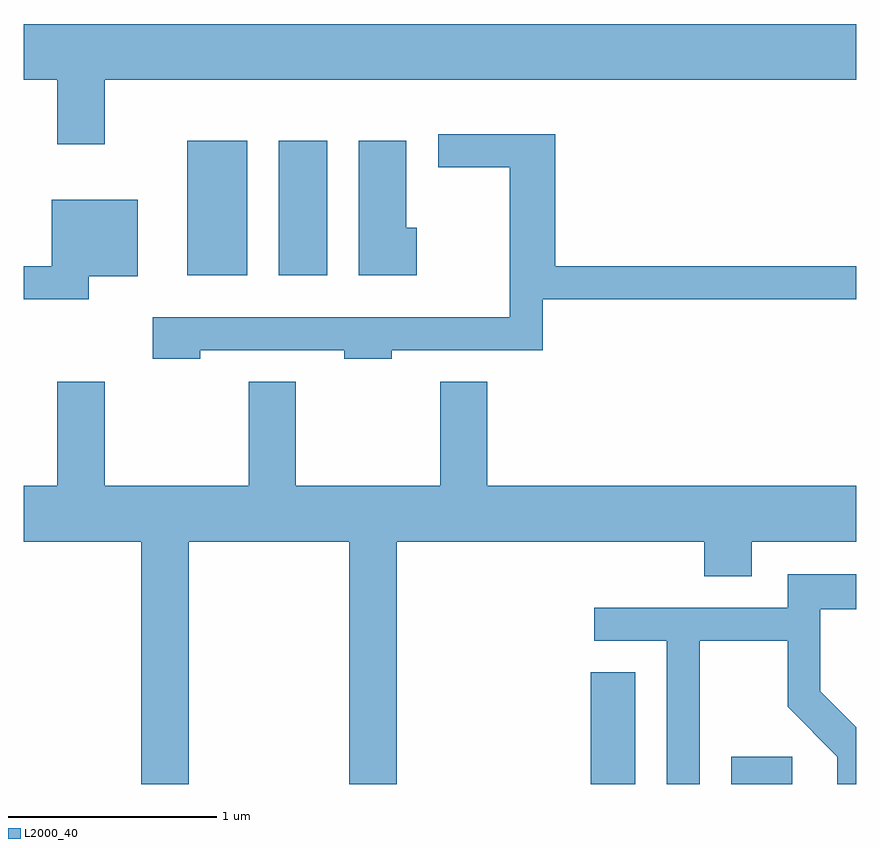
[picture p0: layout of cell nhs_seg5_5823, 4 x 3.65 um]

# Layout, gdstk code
import gdstk
lib = gdstk.Library(unit=1e-6, precision=1e-09)
def R(c, l, rs):  # rectangles x0, y0, x1, y1
    for r in rs: c.add(gdstk.rectangle(r[:2], r[2:], *l))
def P(c, l, *ps):  # polygons
    for p in ps: c.add(gdstk.Polygon(p, *l))
L2000_40 = (2000, 40)

nhs_seg5_5823 = lib.new_cell('nhs_seg5_5823')
R(nhs_seg5_5823, L2000_40, [(360.336,1460.072,360.549,1460.609), (361.011,1460.072,361.304,1460.204), (358.396,1462.516,358.684,1463.164), (358.836,1462.516,359.069,1463.164)])
P(nhs_seg5_5823, L2000_40, [(357.999,1463.456),(361.611,1463.456),(361.611,1463.724),(357.611,1463.724),(357.611,1463.456),(357.771,1463.456),(357.771,1463.146),(357.999,1463.146)],
  [(358.459,1462.156),(359.151,1462.156),(359.151,1462.116),(359.379,1462.116),(359.379,1462.156),(360.104,1462.156),(360.104,1462.401),(361.611,1462.401),(361.611,1462.559),(360.164,1462.559),(360.164,1463.194),(359.603,1463.194),(359.603,1463.036),(359.946,1463.036),(359.946,1462.314),(358.231,1462.314),(358.231,1462.116),(358.459,1462.116)],
  [(359.499,1462.744),(359.449,1462.744),(359.449,1463.164),(359.221,1463.164),(359.221,1462.516),(359.499,1462.516)],
  [(357.924,1462.511),(358.159,1462.511),(358.159,1462.879),(357.746,1462.879),(357.746,1462.559),(357.611,1462.559),(357.611,1462.401),(357.924,1462.401)],
  [(358.176,1460.072),(358.404,1460.072),(358.404,1461.236),(359.176,1461.236),(359.176,1460.072),(359.404,1460.072),(359.404,1461.236),(360.881,1461.236),(360.881,1461.071),(361.109,1461.071),(361.109,1461.236),(361.611,1461.236),(361.611,1461.504),(359.839,1461.504),(359.839,1462.004),(359.611,1462.004),(359.611,1461.504),(358.919,1461.504),(358.919,1462.004),(358.691,1462.004),(358.691,1461.504),(357.999,1461.504),(357.999,1462.004),(357.771,1462.004),(357.771,1461.504),(357.611,1461.504),(357.611,1461.236),(358.176,1461.236)],
  [(360.859,1460.761),(361.281,1460.761),(361.281,1460.444),(361.521,1460.204),(361.521,1460.072),(361.611,1460.072),(361.611,1460.345),(361.439,1460.517),(361.439,1460.911),(361.611,1460.911),(361.611,1461.079),(361.281,1461.079),(361.281,1460.919),(360.353,1460.919),(360.353,1460.761),(360.701,1460.761),(360.701,1460.072),(360.859,1460.072)])

lib.write_gds('nhs_seg5_5823.gds')
